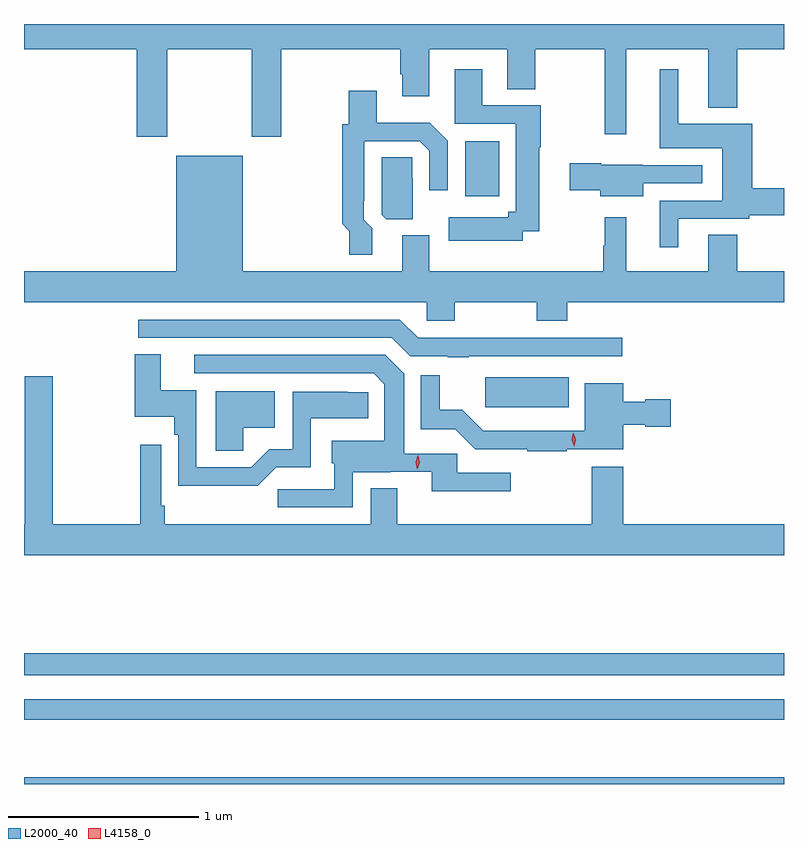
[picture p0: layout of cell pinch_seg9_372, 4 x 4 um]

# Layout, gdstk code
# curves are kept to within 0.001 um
import gdstk
lib = gdstk.Library(unit=1e-6, precision=1e-09)
def R(c, l, rs):  # rectangles x0, y0, x1, y1
    for r in rs: c.add(gdstk.rectangle(r[:2], r[2:], *l))
def P(c, l, *ps):  # polygons
    for p in ps: c.add(gdstk.Polygon(p, *l))
L2000_40 = (2000, 40)
L4158_0 = (4158, 0)

pinch_seg9_372 = lib.new_cell('pinch_seg9_372')
R(pinch_seg9_372, L2000_40, [(303.743,1227.184,307.743,1227.22), (303.743,1227.522,307.743,1227.63), (303.743,1227.756,307.743,1227.872), (306.171,1229.168,306.61,1229.326), (306.065,1230.278,306.244,1230.568)])
P(pinch_seg9_372, L2000_40, [(304.497,1231.052),(304.942,1231.052),(304.942,1230.591),(305.097,1230.591),(305.097,1231.052),(305.723,1231.052),(305.723,1230.919),(305.735,1230.919),(305.735,1230.804),(305.875,1230.804),(305.875,1231.052),(306.287,1231.052),(306.287,1230.841),(306.435,1230.841),(306.435,1231.052),(306.799,1231.052),(306.799,1230.603),(306.913,1230.603),(306.913,1231.052),(307.343,1231.052),(307.343,1230.743),(307.496,1230.743),(307.496,1231.052),(307.743,1231.052),(307.743,1231.184),(303.743,1231.184),(303.743,1231.052),(304.337,1231.052),(304.337,1230.591),(304.497,1230.591)],
  [(307.186,1230.159),(307.56,1230.159),(307.56,1230.178),(307.743,1230.178),(307.743,1230.32),(307.577,1230.32),(307.577,1230.658),(307.186,1230.658),(307.186,1230.946),(307.088,1230.946),(307.088,1230.53),(307.418,1230.53),(307.418,1230.255),(307.088,1230.255),(307.088,1230.009),(307.186,1230.009)],
  [(306.367,1230.093),(306.454,1230.093),(306.454,1230.535),(306.462,1230.535),(306.462,1230.756),(306.154,1230.756),(306.154,1230.946),(306.011,1230.946),(306.011,1230.66),(306.332,1230.66),(306.332,1230.197),(306.291,1230.197),(306.291,1230.166),(305.979,1230.166),(305.979,1230.044),(306.367,1230.044)],
  [(305.575,1230.11),(305.532,1230.153),(305.532,1230.253),(305.535,1230.253),(305.535,1230.567),(305.826,1230.567),(305.877,1230.516),(305.877,1230.309),(305.973,1230.309),(305.973,1230.57),(305.879,1230.664),(305.599,1230.664),(305.599,1230.832),(305.452,1230.832),(305.452,1230.657),(305.419,1230.657),(305.419,1230.314),(305.417,1230.314),(305.417,1230.132),(305.455,1230.093),(305.455,1229.97),(305.575,1229.97)],
  [(306.602,1229.72),(307.743,1229.72),(307.743,1229.884),(307.496,1229.884),(307.496,1230.074),(307.343,1230.074),(307.343,1229.884),(306.913,1229.884),(306.913,1230.166),(306.799,1230.166),(306.799,1230.017),(306.792,1230.017),(306.792,1229.884),(305.875,1229.884),(305.875,1230.072),(305.735,1230.072),(305.735,1229.884),(304.894,1229.884),(304.894,1230.49),(304.544,1230.49),(304.544,1229.884),(303.743,1229.884),(303.743,1229.72),(305.862,1229.72),(305.862,1229.622),(306.009,1229.622),(306.009,1229.72),(306.442,1229.72),(306.442,1229.621),(306.602,1229.621)],
  [(305.788,1230.371),(305.787,1230.371),(305.787,1230.482),(305.625,1230.482),(305.625,1230.18),(305.649,1230.157),(305.788,1230.157)],
  [(307.003,1230.345),(307.312,1230.345),(307.312,1230.441),(306.999,1230.441),(306.999,1230.442),(306.78,1230.442),(306.78,1230.452),(306.615,1230.452),(306.615,1230.31),(306.776,1230.31),(306.776,1230.278),(307.003,1230.278)],
  [(306.083,1229.436),(306.892,1229.436),(306.892,1229.532),(306.353,1229.532),(306.353,1229.534),(306.097,1229.534),(306.097,1229.532),(305.817,1229.532),(305.721,1229.628),(304.344,1229.628),(304.344,1229.532),(305.679,1229.532),(305.775,1229.436),(305.972,1229.436),(305.972,1229.431),(306.083,1229.431)],
  [(305.07,1228.851),(305.253,1228.851),(305.253,1229.109),(305.554,1229.109),(305.554,1229.247),(305.157,1229.248),(305.157,1228.947),(305.034,1228.947),(304.938,1228.851),(304.65,1228.851),(304.65,1229.257),(304.462,1229.257),(304.462,1229.446),(304.327,1229.446),(304.327,1229.117),(304.534,1229.117),(304.534,1229.021),(304.554,1229.021),(304.554,1228.754),(304.973,1228.754)],
  [(305.472,1228.826),(305.888,1228.827),(305.888,1228.724),(306.304,1228.724),(306.304,1228.821),(306.022,1228.821),(306.022,1228.923),(305.743,1228.923),(305.743,1229.342),(305.643,1229.442),(304.638,1229.442),(304.638,1229.346),(305.583,1229.346),(305.64,1229.289),(305.64,1228.99),(305.363,1228.99),(305.363,1228.872),(305.376,1228.872),(305.376,1228.736),(305.079,1228.736),(305.079,1228.641),(305.472,1228.641)],
  [(306.599,1228.947),(306.898,1228.947),(306.898,1229.075),(307.014,1229.075),(307.014,1229.063),(307.147,1229.063),(307.147,1229.21),(307.014,1229.21),(307.014,1229.197),(306.898,1229.197),(306.898,1229.293),(306.695,1229.293),(306.695,1229.043),(306.159,1229.043),(306.049,1229.153),(305.931,1229.153),(305.931,1229.335),(305.832,1229.335),(305.832,1229.052),(306.012,1229.052),(306.117,1228.947),(306.391,1228.947),(306.391,1228.935),(306.599,1228.935)],
  [(307.743,1228.552),(306.896,1228.552),(306.896,1228.855),(306.731,1228.855),(306.731,1228.552),(305.707,1228.552),(305.707,1228.741),(305.567,1228.741),(305.567,1228.552),(304.483,1228.552),(304.483,1228.648),(304.465,1228.648),(304.465,1228.969),(304.354,1228.969),(304.354,1228.552),(303.894,1228.552),(303.894,1229.331),(303.746,1229.331),(303.746,1228.552),(303.743,1228.552),(303.743,1228.388),(307.743,1228.388)],
  [(304.898,1229.06),(305.062,1229.06),(305.062,1229.251),(304.751,1229.251),(304.751,1228.938),(304.898,1228.938)])
P(pinch_seg9_372, L4158_0, [(305.814,1228.841),(305.814,1228.841),(305.805,1228.877),(305.816,1228.912),(305.816,1228.912),(305.817,1228.912),(305.825,1228.876),(305.814,1228.841)],
  [(306.639,1228.961),(306.639,1228.961),(306.626,1228.996),(306.633,1229.032),(306.634,1229.032),(306.634,1229.032),(306.646,1228.997),(306.639,1228.961)])

lib.write_gds('pinch_seg9_372.gds')
